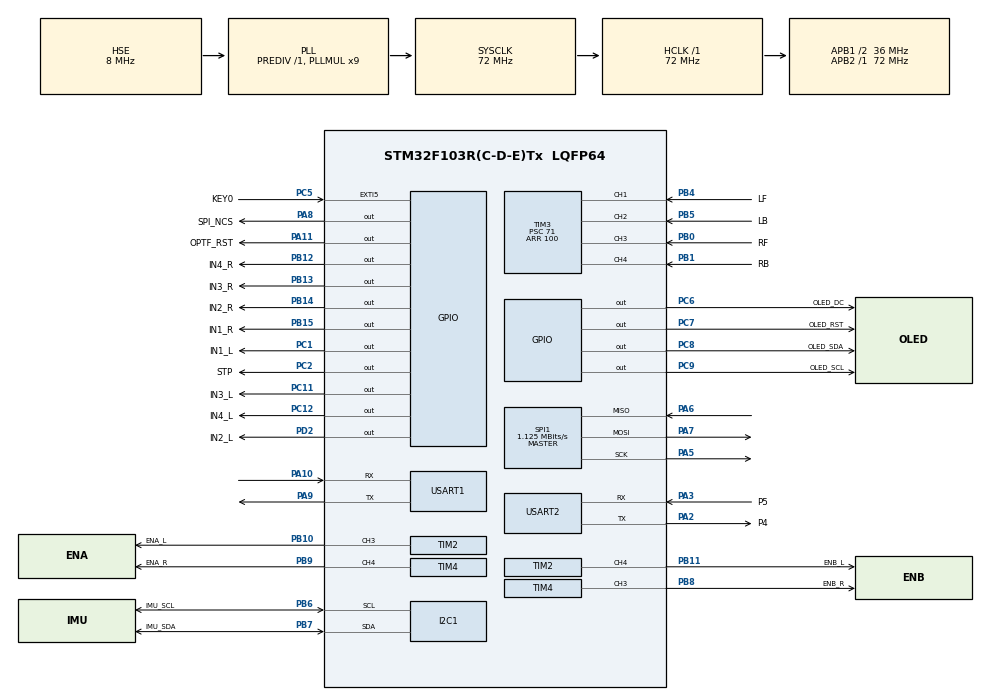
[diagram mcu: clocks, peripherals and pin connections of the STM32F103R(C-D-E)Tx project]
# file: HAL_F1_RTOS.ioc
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FREERTOS.Tasks01=defaultTask,24,128,StartDefaultTask,Default,NULL,Dynamic,NULL,NULL;LFSpeed,24,128,StartLFSpeed,Default,NULL,Dynamic,NULL,NULL;LBSpeed,24,128,StartLBSpeed,Default,NULL,Dynamic,NULL,NULL;RFSpeed,24,128,StartRFSpeed,Default,NULL,Dynamic,NULL,NULL;RBSpeed,24,128,StartRBSpeed,Default,NULL,Dynamic,NULL,NULL;MoveControl,32,512,StartMoveControl,Default,NULL,Dynamic,NULL,NULL;Decision,40,512,StartDecision,Default,NULL,Dynamic,NULL,NULL;IMUData,24,512,StartIMUData,Default,NULL,Dynamic,NULL,NULL
FREERTOS.configTOTAL_HEAP_SIZE=16384
I2C1.I2C_Mode=I2C_Standard
I2C1.NoStretchMode=I2C_NOSTRETCH_DISABLE
Mcu.Family=STM32F1
Mcu.Name=STM32F103R(C-D-E)Tx
Mcu.Package=LQFP64
NVIC.PriorityGroup=NVIC_PRIORITYGROUP_4
NVIC.TIM1_UP_IRQn=true\:0\:0\:false\:false\:true\:false\:false\:true
NVIC.TIM3_IRQn=true\:5\:0\:false\:false\:true\:true\:true\:true
NVIC.TIM4_IRQn=true\:5\:0\:false\:false\:true\:true\:true\:true
NVIC.TimeBase=TIM1_UP_IRQn
NVIC.TimeBaseIP=TIM1
NVIC.USART2_IRQn=true\:5\:0\:false\:false\:true\:true\:true\:true
PA10.Mode=Asynchronous
PA10.Signal=USART1_RX
PA11.GPIO_Label=OPTF_RST
PA11.GPIO_PuPd=GPIO_PULLDOWN
PA11.Signal=GPIO_Output
PA13.Mode=Serial_Wire
PA13.Signal=SYS_JTMS-SWDIO
PA14.Mode=Serial_Wire
PA14.Signal=SYS_JTCK-SWCLK
PA2.GPIO_Label=P4
PA2.Mode=Asynchronous
PA2.Signal=USART2_TX
PA3.GPIO_Label=P5
PA3.Mode=Asynchronous
PA3.Signal=USART2_RX
PA5.Mode=Full_Duplex_Master
PA5.Signal=SPI1_SCK
PA6.Mode=Full_Duplex_Master
PA6.Signal=SPI1_MISO
PA7.Mode=Full_Duplex_Master
PA7.Signal=SPI1_MOSI
PA8.GPIO_Label=SPI_NCS
PA8.GPIO_PuPd=GPIO_PULLUP
PA8.PinState=GPIO_PIN_SET
PA8.Signal=GPIO_Output
PA9.Mode=Asynchronous
PA9.Signal=USART1_TX
PB0.GPIO_Label=RF
PB0.GPIO_PuPd=GPIO_PULLUP
PB0.Signal=S_TIM3_CH3
PB1.GPIO_Label=RB
PB1.GPIO_PuPd=GPIO_PULLUP
PB1.Signal=S_TIM3_CH4
PB10.GPIO_Label=ENA_L
PB10.Signal=S_TIM2_CH3
PB11.GPIO_Label=ENB_L
PB11.Signal=S_TIM2_CH4
PB12.GPIO_Label=IN4_R
PB12.GPIO_PuPd=GPIO_PULLDOWN
PB12.Signal=GPIO_Output
PB13.GPIO_Label=IN3_R
PB13.GPIO_PuPd=GPIO_PULLDOWN
PB13.Signal=GPIO_Output
PB14.GPIO_Label=IN2_R
PB14.GPIO_PuPd=GPIO_PULLDOWN
PB14.Signal=GPIO_Output
PB15.GPIO_Label=IN1_R
PB15.GPIO_PuPd=GPIO_PULLDOWN
PB15.Signal=GPIO_Output
PB4.GPIO_Label=LF
PB4.GPIO_PuPd=GPIO_PULLUP
PB4.Signal=S_TIM3_CH1
PB5.GPIO_Label=LB
PB5.GPIO_PuPd=GPIO_PULLUP
PB5.Signal=S_TIM3_CH2
PB6.GPIO_Label=IMU_SCL
PB6.Mode=I2C
PB6.Signal=I2C1_SCL
PB7.GPIO_Label=IMU_SDA
PB7.Mode=I2C
PB7.Signal=I2C1_SDA
PB8.GPIO_Label=ENB_R
PB8.Signal=S_TIM4_CH3
PB9.GPIO_Label=ENA_R
PB9.Signal=S_TIM4_CH4
PC1.GPIO_Label=IN1_L
PC1.GPIO_PuPd=GPIO_PULLDOWN
PC1.Signal=GPIO_Output
PC11.GPIO_Label=IN3_L
PC11.GPIO_PuPd=GPIO_PULLDOWN
PC11.Signal=GPIO_Output
PC12.GPIO_Label=IN4_L
PC12.GPIO_PuPd=GPIO_PULLDOWN
PC12.Signal=GPIO_Output
PC2.GPIO_Label=STP
PC2.GPIO_PuPd=GPIO_PULLDOWN
PC2.GPIO_Speed=GPIO_SPEED_FREQ_HIGH
PC2.Signal=GPIO_Output
PC5.GPIO_Label=KEY0
PC5.GPIO_ModeDefaultEXTI=GPIO_MODE_IT_FALLING
PC5.GPIO_PuPd=GPIO_PULLUP
PC5.Signal=GPXTI5
PC6.GPIO_Label=OLED_DC
PC6.GPIO_PuPd=GPIO_PULLDOWN
PC6.GPIO_Speed=GPIO_SPEED_FREQ_HIGH
PC6.Signal=GPIO_Output
PC7.GPIO_Label=OLED_RST
PC7.GPIO_PuPd=GPIO_PULLDOWN
PC7.GPIO_Speed=GPIO_SPEED_FREQ_HIGH
PC7.Signal=GPIO_Output
PC8.GPIO_Label=OLED_SDA
PC8.GPIO_PuPd=GPIO_PULLDOWN
PC8.GPIO_Speed=GPIO_SPEED_FREQ_HIGH
PC8.Signal=GPIO_Output
PC9.GPIO_Label=OLED_SCL
PC9.GPIO_PuPd=GPIO_PULLDOWN
PC9.GPIO_Speed=GPIO_SPEED_FREQ_HIGH
PC9.Signal=GPIO_Output
PD0-OSC_IN.Mode=HSE-External-Oscillator
PD0-OSC_IN.Signal=RCC_OSC_IN
PD1-OSC_OUT.Mode=HSE-External-Oscillator
PD1-OSC_OUT.Signal=RCC_OSC_OUT
PD2.GPIO_Label=IN2_L
PD2.GPIO_PuPd=GPIO_PULLDOWN
PD2.Signal=GPIO_Output
ProjectManager.HeapSize=0x200
ProjectManager.StackSize=0x400
ProjectManager.TargetToolchain=MDK-ARM V5.27
RCC.AHBFreq_Value=72000000
RCC.APB1CLKDivider=RCC_HCLK_DIV2
RCC.APB1Freq_Value=36000000
RCC.APB1TimFreq_Value=72000000
RCC.APB2Freq_Value=72000000
RCC.APB2TimFreq_Value=72000000
RCC.HCLKFreq_Value=72000000
RCC.PLLMUL=RCC_PLL_MUL9
RCC.PLLSourceVirtual=RCC_PLLSOURCE_HSE
RCC.SYSCLKFreq_VALUE=72000000
RCC.SYSCLKSource=RCC_SYSCLKSOURCE_PLLCLK
RCC.USBFreq_Value=72000000
SH.S_TIM2_CH3.0=TIM2_CH3,PWM Generation3 CH3
SH.S_TIM2_CH4.0=TIM2_CH4,PWM Generation4 CH4
SH.S_TIM3_CH1.0=TIM3_CH1,Input_Capture1_from_TI1
SH.S_TIM3_CH2.0=TIM3_CH2,Input_Capture2_from_TI2
SH.S_TIM3_CH3.0=TIM3_CH3,Input_Capture3_from_TI3
SH.S_TIM3_CH4.0=TIM3_CH4,Input_Capture4_from_TI4
SH.S_TIM4_CH3.0=TIM4_CH3,PWM Generation3 CH3
SH.S_TIM4_CH4.0=TIM4_CH4,PWM Generation4 CH4
SPI1.BaudRatePrescaler=SPI_BAUDRATEPRESCALER_64
SPI1.CLKPhase=SPI_PHASE_2EDGE
SPI1.CLKPolarity=SPI_POLARITY_HIGH
SPI1.CalculateBaudRate=1.125 MBits/s
SPI1.Direction=SPI_DIRECTION_2LINES
SPI1.Mode=SPI_MODE_MASTER
SPI1.VirtualType=VM_MASTER
TIM2.AutoReloadPreload=TIM_AUTORELOAD_PRELOAD_ENABLE
TIM2.Channel-PWM\ Generation3\ CH3=TIM_CHANNEL_3
TIM2.Channel-PWM\ Generation4\ CH4=TIM_CHANNEL_4
TIM2.Period=100
TIM2.Prescaler=72-1
TIM3.AutoReloadPreload=TIM_AUTORELOAD_PRELOAD_ENABLE
TIM3.Channel-Input_Capture1_from_TI1=TIM_CHANNEL_1
TIM3.Channel-Input_Capture2_from_TI2=TIM_CHANNEL_2
TIM3.Channel-Input_Capture3_from_TI3=TIM_CHANNEL_3
TIM3.Channel-Input_Capture4_from_TI4=TIM_CHANNEL_4
TIM3.ClockDivision=TIM_CLOCKDIVISION_DIV1
TIM3.ICPolarity_CH1=TIM_INPUTCHANNELPOLARITY_FALLING
TIM3.ICPolarity_CH2=TIM_INPUTCHANNELPOLARITY_FALLING
TIM3.ICPolarity_CH3=TIM_INPUTCHANNELPOLARITY_FALLING
TIM3.ICPolarity_CH4=TIM_INPUTCHANNELPOLARITY_FALLING
TIM3.ICPrescaler-Input_Capture1_from_TI1=TIM_ICPSC_DIV1
TIM3.ICPrescaler-Input_Capture2_from_TI2=TIM_ICPSC_DIV1
TIM3.ICPrescaler-Input_Capture3_from_TI3=TIM_ICPSC_DIV1
TIM3.ICPrescaler-Input_Capture4_from_TI4=TIM_ICPSC_DIV1
TIM3.Period=100
TIM3.Prescaler=71
TIM4.AutoReloadPreload=TIM_AUTORELOAD_PRELOAD_ENABLE
TIM4.Channel-PWM\ Generation3\ CH3=TIM_CHANNEL_3
TIM4.Channel-PWM\ Generation4\ CH4=TIM_CHANNEL_4
TIM4.Period=100
TIM4.Prescaler=72-1
USART1.VirtualMode=VM_ASYNC
USART2.VirtualMode=VM_ASYNC
VP_FREERTOS_VS_CMSIS_V2.Mode=CMSIS_V2
VP_SYS_VS_tim1.Mode=TIM1
VP_TIM3_VS_ClockSourceINT.Mode=Internal
VP_TIM4_VS_ClockSourceINT.Mode=Internal
board=custom

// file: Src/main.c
/* USER CODE BEGIN Header */
/**
  ******************************************************************************
  * @file           : main.c
  * @brief          : Main program body
  ******************************************************************************
  * @attention
  *
  * <h2><center>&copy; Copyright (c) 2020 STMicroelectronics.
  * All rights reserved.</center></h2>
  *
  * This software component is licensed by ST under BSD 3-Clause license,
  * the "License"; You may not use this file except in compliance with the
  * License. You may obtain a copy of the License at:
  *                        opensource.org/licenses/BSD-3-Clause
  *
  ******************************************************************************
  */
/* USER CODE END Header */

#include "main.h"
#include "cmsis_os.h"

/* USER CODE BEGIN Includes */
#include "stm32f1xx_hal.h"
#include "stdlib.h"
#include "stdio.h"
#include "pid.h"
#include "delay.h"
#include "stepper.h"
#include "comm.h"
#include "opticalFlow.h"
#include "lcd.h"
#include "oled.h"
#include "bsp.h"
#include "it.h"
#include "motor.h"
#include "mpu.h"
#include "inv_mpu.h"
#include "inv_mpu_dmp_motion_driver.h"
/* USER CODE END Includes */

/* USER CODE BEGIN PD */
#define Pi 3.1415
/* USER CODE END PD */

I2C_HandleTypeDef hi2c1;

SPI_HandleTypeDef hspi1;

TIM_HandleTypeDef htim2;
TIM_HandleTypeDef htim3;
TIM_HandleTypeDef htim4;

UART_HandleTypeDef huart1;
UART_HandleTypeDef huart2;

osThreadId_t defaultTaskHandle;
osThreadId_t LFSpeedHandle;
osThreadId_t LBSpeedHandle;
osThreadId_t RFSpeedHandle;
osThreadId_t RBSpeedHandle;
osThreadId_t MoveControlHandle;
osThreadId_t DecisionHandle;
osThreadId_t IMUDataHandle;
/* USER CODE BEGIN PV */
extern Motor *motorLF;
extern Motor *motorLB;
extern Motor *motorRF;
extern Motor *motorRB;
extern MotionState *MyRob;

uint8_t IRQBuffer;
ProtocolData *RxData;
PID_Typedef *PID_Front;
Stepper *StepperFront;

/* USER CODE END PV */

void SystemClock_Config(void);
static void MX_GPIO_Init(void);
static void MX_USART2_UART_Init(void);
static void MX_TIM3_Init(void);
static void MX_USART1_UART_Init(void);
static void MX_SPI1_Init(void);
static void MX_TIM2_Init(void);
static void MX_TIM4_Init(void);
static void MX_I2C1_Init(void);
void StartDefaultTask(void *argument);
void StartLFSpeed(void *argument);
void StartLBSpeed(void *argument);
void StartRFSpeed(void *argument);
void StartRBSpeed(void *argument);
void StartMoveControl(void *argument);
void StartDecision(void *argument);
void StartIMUData(void *argument);

int main(void)
{

  /* MCU Configuration--------------------------------------------------------*/

  /* Reset of all peripherals, Initializes the Flash interface and the Systick. */
  HAL_Init();

  /* Configure the system clock */
  SystemClock_Config();

  /* Initialize all configured peripherals */
  MX_GPIO_Init();
  MX_USART2_UART_Init();
  MX_TIM3_Init();
  MX_USART1_UART_Init();
  MX_SPI1_Init();
  MX_TIM2_Init();
  MX_TIM4_Init();
  MX_I2C1_Init();
  /* USER CODE BEGIN 2 */

BSP_Init();
  /* USER CODE END 2 */

  osKernelInitialize();

  /* Create the thread(s) */
  /* definition and creation of defaultTask */
  const osThreadAttr_t defaultTask_attributes = {
    .name = "defaultTask",
    .priority = (osPriority_t) osPriorityNormal,
    .stack_size = 128
  };
  defaultTaskHandle = osThreadNew(StartDefaultTask, NULL, &defaultTask_attributes);

  /* definition and creation of LFSpeed */
  const osThreadAttr_t LFSpeed_attributes = {
    .name = "LFSpeed",
    .priority = (osPriority_t) osPriorityNormal,
    .stack_size = 128
  };
  LFSpeedHandle = osThreadNew(StartLFSpeed, NULL, &LFSpeed_attributes);

  /* definition and creation of LBSpeed */
  const osThreadAttr_t LBSpeed_attributes = {
    .name = "LBSpeed",
    .priority = (osPriority_t) osPriorityNormal,
    .stack_size = 128
  };
  LBSpeedHandle = osThreadNew(StartLBSpeed, NULL, &LBSpeed_attributes);

  /* definition and creation of RFSpeed */
  const osThreadAttr_t RFSpeed_attributes = {
    .name = "RFSpeed",
    .priority = (osPriority_t) osPriorityNormal,
    .stack_size = 128
  };
  RFSpeedHandle = osThreadNew(StartRFSpeed, NULL, &RFSpeed_attributes);

  /* definition and creation of RBSpeed */
  const osThreadAttr_t RBSpeed_attributes = {
    .name = "RBSpeed",
    .priority = (osPriority_t) osPriorityNormal,
    .stack_size = 128
  };
  RBSpeedHandle = osThreadNew(StartRBSpeed, NULL, &RBSpeed_attributes);

  /* definition and creation of MoveControl */
  const osThreadAttr_t MoveControl_attributes = {
    .name = "MoveControl",
    .priority = (osPriority_t) osPriorityAboveNormal,
    .stack_size = 512
  };
  MoveControlHandle = osThreadNew(StartMoveControl, NULL, &MoveControl_attributes);

  /* definition and creation of Decision */
  const osThreadAttr_t Decision_attributes = {
    .name = "Decision",
    .priority = (osPriority_t) osPriorityHigh,
    .stack_size = 512
  };
  DecisionHandle = osThreadNew(StartDecision, NULL, &Decision_attributes);

  /* definition and creation of IMUData */
  const osThreadAttr_t IMUData_attributes = {
    .name = "IMUData",
    .priority = (osPriority_t) osPriorityNormal,
    .stack_size = 512
  };
  IMUDataHandle = osThreadNew(StartIMUData, NULL, &IMUData_attributes);

  /* Start scheduler */
  osKernelStart();

  /* We should never get here as control is now taken by the scheduler */

  /* Infinite loop */
  /* USER CODE BEGIN WHILE */
  while (1)
  {
	;
    /* USER CODE END WHILE */

  }
}

void SystemClock_Config(void)
{
  RCC_OscInitTypeDef RCC_OscInitStruct = {0};
  RCC_ClkInitTypeDef RCC_ClkInitStruct = {0};

  /** Initializes the CPU, AHB and APB busses clocks
  */
  RCC_OscInitStruct.OscillatorType = RCC_OSCILLATORTYPE_HSE;
  RCC_OscInitStruct.HSEState = RCC_HSE_ON;
  RCC_OscInitStruct.HSEPredivValue = RCC_HSE_PREDIV_DIV1;
  RCC_OscInitStruct.HSIState = RCC_HSI_ON;
  RCC_OscInitStruct.PLL.PLLState = RCC_PLL_ON;
  RCC_OscInitStruct.PLL.PLLSource = RCC_PLLSOURCE_HSE;
  RCC_OscInitStruct.PLL.PLLMUL = RCC_PLL_MUL9;
  if (HAL_RCC_OscConfig(&RCC_OscInitStruct) != HAL_OK)
  {
    Error_Handler();
  }
  /** Initializes the CPU, AHB and APB busses clocks
  */
  RCC_ClkInitStruct.ClockType = RCC_CLOCKTYPE_HCLK|RCC_CLOCKTYPE_SYSCLK
                              |RCC_CLOCKTYPE_PCLK1|RCC_CLOCKTYPE_PCLK2;
  RCC_ClkInitStruct.SYSCLKSource = RCC_SYSCLKSOURCE_PLLCLK;
  RCC_ClkInitStruct.AHBCLKDivider = RCC_SYSCLK_DIV1;
  RCC_ClkInitStruct.APB1CLKDivider = RCC_HCLK_DIV2;
  RCC_ClkInitStruct.APB2CLKDivider = RCC_HCLK_DIV1;

  if (HAL_RCC_ClockConfig(&RCC_ClkInitStruct, FLASH_LATENCY_2) != HAL_OK)
  {
    Error_Handler();
  }
}

static void MX_I2C1_Init(void)
{

  hi2c1.Instance = I2C1;
  hi2c1.Init.ClockSpeed = 100000;
  hi2c1.Init.DutyCycle = I2C_DUTYCYCLE_2;
  hi2c1.Init.OwnAddress1 = 0;
  hi2c1.Init.AddressingMode = I2C_ADDRESSINGMODE_7BIT;
  hi2c1.Init.DualAddressMode = I2C_DUALADDRESS_DISABLE;
  hi2c1.Init.OwnAddress2 = 0;
  hi2c1.Init.GeneralCallMode = I2C_GENERALCALL_DISABLE;
  hi2c1.Init.NoStretchMode = I2C_NOSTRETCH_DISABLE;
  if (HAL_I2C_Init(&hi2c1) != HAL_OK)
  {
    Error_Handler();
  }

}

static void MX_SPI1_Init(void)
{

  /* SPI1 parameter configuration*/
  hspi1.Instance = SPI1;
  hspi1.Init.Mode = SPI_MODE_MASTER;
  hspi1.Init.Direction = SPI_DIRECTION_2LINES;
  hspi1.Init.DataSize = SPI_DATASIZE_8BIT;
  hspi1.Init.CLKPolarity = SPI_POLARITY_HIGH;
  hspi1.Init.CLKPhase = SPI_PHASE_2EDGE;
  hspi1.Init.NSS = SPI_NSS_SOFT;
  hspi1.Init.BaudRatePrescaler = SPI_BAUDRATEPRESCALER_64;
  hspi1.Init.FirstBit = SPI_FIRSTBIT_MSB;
  hspi1.Init.TIMode = SPI_TIMODE_DISABLE;
  hspi1.Init.CRCCalculation = SPI_CRCCALCULATION_DISABLE;
  hspi1.Init.CRCPolynomial = 10;
  if (HAL_SPI_Init(&hspi1) != HAL_OK)
  {
    Error_Handler();
  }

}

static void MX_TIM2_Init(void)
{

  TIM_ClockConfigTypeDef sClockSourceConfig = {0};
  TIM_MasterConfigTypeDef sMasterConfig = {0};
  TIM_OC_InitTypeDef sConfigOC = {0};

  htim2.Instance = TIM2;
  htim2.Init.Prescaler = 72-1;
  htim2.Init.CounterMode = TIM_COUNTERMODE_UP;
  htim2.Init.Period = 100;
  htim2.Init.ClockDivision = TIM_CLOCKDIVISION_DIV1;
  htim2.Init.AutoReloadPreload = TIM_AUTORELOAD_PRELOAD_ENABLE;
  if (HAL_TIM_Base_Init(&htim2) != HAL_OK)
  {
    Error_Handler();
  }
  sClockSourceConfig.ClockSource = TIM_CLOCKSOURCE_INTERNAL;
  if (HAL_TIM_ConfigClockSource(&htim2, &sClockSourceConfig) != HAL_OK)
  {
    Error_Handler();
  }
  if (HAL_TIM_PWM_Init(&htim2) != HAL_OK)
  {
    Error_Handler();
  }
  sMasterConfig.MasterOutputTrigger = TIM_TRGO_RESET;
  sMasterConfig.MasterSlaveMode = TIM_MASTERSLAVEMODE_DISABLE;
  if (HAL_TIMEx_MasterConfigSynchronization(&htim2, &sMasterConfig) != HAL_OK)
  {
    Error_Handler();
  }
  sConfigOC.OCMode = TIM_OCMODE_PWM1;
  sConfigOC.Pulse = 0;
  sConfigOC.OCPolarity = TIM_OCPOLARITY_HIGH;
  sConfigOC.OCFastMode = TIM_OCFAST_DISABLE;
  if (HAL_TIM_PWM_ConfigChannel(&htim2, &sConfigOC, TIM_CHANNEL_3) != HAL_OK)
  {
    Error_Handler();
  }
  if (HAL_TIM_PWM_ConfigChannel(&htim2, &sConfigOC, TIM_CHANNEL_4) != HAL_OK)
  {
    Error_Handler();
  }
  HAL_TIM_MspPostInit(&htim2);

}

static void MX_TIM3_Init(void)
{

  TIM_ClockConfigTypeDef sClockSourceConfig = {0};
  TIM_MasterConfigTypeDef sMasterConfig = {0};
  TIM_IC_InitTypeDef sConfigIC = {0};

  htim3.Instance = TIM3;
  htim3.Init.Prescaler = 71;
  htim3.Init.CounterMode = TIM_COUNTERMODE_UP;
  htim3.Init.Period = 100;
  htim3.Init.ClockDivision = TIM_CLOCKDIVISION_DIV1;
  htim3.Init.AutoReloadPreload = TIM_AUTORELOAD_PRELOAD_ENABLE;
  if (HAL_TIM_Base_Init(&htim3) != HAL_OK)
  {
    Error_Handler();
  }
  sClockSourceConfig.ClockSource = TIM_CLOCKSOURCE_INTERNAL;
  if (HAL_TIM_ConfigClockSource(&htim3, &sClockSourceConfig) != HAL_OK)
  {
    Error_Handler();
  }
  if (HAL_TIM_IC_Init(&htim3) != HAL_OK)
  {
    Error_Handler();
  }
  sMasterConfig.MasterOutputTrigger = TIM_TRGO_RESET;
  sMasterConfig.MasterSlaveMode = TIM_MASTERSLAVEMODE_DISABLE;
  if (HAL_TIMEx_MasterConfigSynchronization(&htim3, &sMasterConfig) != HAL_OK)
  {
    Error_Handler();
  }
  sConfigIC.ICPolarity = TIM_INPUTCHANNELPOLARITY_FALLING;
  sConfigIC.ICSelection = TIM_ICSELECTION_DIRECTTI;
  sConfigIC.ICPrescaler = TIM_ICPSC_DIV1;
  sConfigIC.ICFilter = 0;
  if (HAL_TIM_IC_ConfigChannel(&htim3, &sConfigIC, TIM_CHANNEL_1) != HAL_OK)
  {
    Error_Handler();
  }
  if (HAL_TIM_IC_ConfigChannel(&htim3, &sConfigIC, TIM_CHANNEL_2) != HAL_OK)
  {
    Error_Handler();
  }
  if (HAL_TIM_IC_ConfigChannel(&htim3, &sConfigIC, TIM_CHANNEL_3) != HAL_OK)
  {
    Error_Handler();
  }
  if (HAL_TIM_IC_ConfigChannel(&htim3, &sConfigIC, TIM_CHANNEL_4) != HAL_OK)
  {
    Error_Handler();
  }

}

static void MX_TIM4_Init(void)
{

  TIM_ClockConfigTypeDef sClockSourceConfig = {0};
  TIM_MasterConfigTypeDef sMasterConfig = {0};
  TIM_OC_InitTypeDef sConfigOC = {0};

  htim4.Instance = TIM4;
  htim4.Init.Prescaler = 72-1;
  htim4.Init.CounterMode = TIM_COUNTERMODE_UP;
  htim4.Init.Period = 100;
  htim4.Init.ClockDivision = TIM_CLOCKDIVISION_DIV1;
  htim4.Init.AutoReloadPreload = TIM_AUTORELOAD_PRELOAD_ENABLE;
  if (HAL_TIM_Base_Init(&htim4) != HAL_OK)
  {
    Error_Handler();
  }
  sClockSourceConfig.ClockSource = TIM_CLOCKSOURCE_INTERNAL;
  if (HAL_TIM_ConfigClockSource(&htim4, &sClockSourceConfig) != HAL_OK)
  {
    Error_Handler();
  }
  if (HAL_TIM_PWM_Init(&htim4) != HAL_OK)
  {
    Error_Handler();
  }
  sMasterConfig.MasterOutputTrigger = TIM_TRGO_RESET;
  sMasterConfig.MasterSlaveMode = TIM_MASTERSLAVEMODE_DISABLE;
  if (HAL_TIMEx_MasterConfigSynchronization(&htim4, &sMasterConfig) != HAL_OK)
  {
    Error_Handler();
  }
  sConfigOC.OCMode = TIM_OCMODE_PWM1;
  sConfigOC.Pulse = 0;
  sConfigOC.OCPolarity = TIM_OCPOLARITY_HIGH;
  sConfigOC.OCFastMode = TIM_OCFAST_DISABLE;
  if (HAL_TIM_PWM_ConfigChannel(&htim4, &sConfigOC, TIM_CHANNEL_3) != HAL_OK)
  {
    Error_Handler();
  }
  if (HAL_TIM_PWM_ConfigChannel(&htim4, &sConfigOC, TIM_CHANNEL_4) != HAL_OK)
  {
    Error_Handler();
  }
  HAL_TIM_MspPostInit(&htim4);

}

static void MX_USART1_UART_Init(void)
{

  huart1.Instance = USART1;
  huart1.Init.BaudRate = 115200;
  huart1.Init.WordLength = UART_WORDLENGTH_8B;
  huart1.Init.StopBits = UART_STOPBITS_1;
  huart1.Init.Parity = UART_PARITY_NONE;
  huart1.Init.Mode = UART_MODE_TX_RX;
  huart1.Init.HwFlowCtl = UART_HWCONTROL_NONE;
  huart1.Init.OverSampling = UART_OVERSAMPLING_16;
  if (HAL_UART_Init(&huart1) != HAL_OK)
  {
    Error_Handler();
  }

}

static void MX_USART2_UART_Init(void)
{

  huart2.Instance = USART2;
  huart2.Init.BaudRate = 115200;
  huart2.Init.WordLength = UART_WORDLENGTH_8B;
  huart2.Init.StopBits = UART_STOPBITS_1;
  huart2.Init.Parity = UART_PARITY_NONE;
  huart2.Init.Mode = UART_MODE_TX_RX;
  huart2.Init.HwFlowCtl = UART_HWCONTROL_NONE;
  huart2.Init.OverSampling = UART_OVERSAMPLING_16;
  if (HAL_UART_Init(&huart2) != HAL_OK)
  {
    Error_Handler();
  }

}

static void MX_GPIO_Init(void)
{
  GPIO_InitTypeDef GPIO_InitStruct = {0};

  /* GPIO Ports Clock Enable */
  __HAL_RCC_GPIOD_CLK_ENABLE();
  __HAL_RCC_GPIOC_CLK_ENABLE();
  __HAL_RCC_GPIOA_CLK_ENABLE();
  __HAL_RCC_GPIOB_CLK_ENABLE();

  /*Configure GPIO pin Output Level */
  HAL_GPIO_WritePin(GPIOC, IN1_L_Pin|STP_Pin|OLED_DC_Pin|OLED_RST_Pin
                          |OLED_SDA_Pin|OLED_SCL_Pin|IN3_L_Pin|IN4_L_Pin, GPIO_PIN_RESET);

  /*Configure GPIO pin Output Level */
  HAL_GPIO_WritePin(GPIOB, IN4_R_Pin|IN3_R_Pin|IN2_R_Pin|IN1_R_Pin, GPIO_PIN_RESET);

  /*Configure GPIO pin Output Level */
  HAL_GPIO_WritePin(SPI_NCS_GPIO_Port, SPI_NCS_Pin, GPIO_PIN_SET);

  /*Configure GPIO pin Output Level */
  HAL_GPIO_WritePin(OPTF_RST_GPIO_Port, OPTF_RST_Pin, GPIO_PIN_RESET);

  /*Configure GPIO pin Output Level */
  HAL_GPIO_WritePin(IN2_L_GPIO_Port, IN2_L_Pin, GPIO_PIN_RESET);

  /*Configure GPIO pins : IN1_L_Pin IN3_L_Pin IN4_L_Pin */
  GPIO_InitStruct.Pin = IN1_L_Pin|IN3_L_Pin|IN4_L_Pin;
  GPIO_InitStruct.Mode = GPIO_MODE_OUTPUT_PP;
  GPIO_InitStruct.Pull = GPIO_PULLDOWN;
  GPIO_InitStruct.Speed = GPIO_SPEED_FREQ_LOW;
  HAL_GPIO_Init(GPIOC, &GPIO_InitStruct);

  /*Configure GPIO pins : STP_Pin OLED_DC_Pin OLED_RST_Pin OLED_SDA_Pin
                           OLED_SCL_Pin */
  GPIO_InitStruct.Pin = STP_Pin|OLED_DC_Pin|OLED_RST_Pin|OLED_SDA_Pin
                          |OLED_SCL_Pin;
  GPIO_InitStruct.Mode = GPIO_MODE_OUTPUT_PP;
  GPIO_InitStruct.Pull = GPIO_PULLDOWN;
  GPIO_InitStruct.Speed = GPIO_SPEED_FREQ_HIGH;
  HAL_GPIO_Init(GPIOC, &GPIO_InitStruct);

  /*Configure GPIO pin : KEY0_Pin */
  GPIO_InitStruct.Pin = KEY0_Pin;
  GPIO_InitStruct.Mode = GPIO_MODE_IT_FALLING;
  GPIO_InitStruct.Pull = GPIO_PULLUP;
  HAL_GPIO_Init(KEY0_GPIO_Port, &GPIO_InitStruct);

  /*Configure GPIO pins : IN4_R_Pin IN3_R_Pin IN2_R_Pin IN1_R_Pin */
  GPIO_InitStruct.Pin = IN4_R_Pin|IN3_R_Pin|IN2_R_Pin|IN1_R_Pin;
  GPIO_InitStruct.Mode = GPIO_MODE_OUTPUT_PP;
  GPIO_InitStruct.Pull = GPIO_PULLDOWN;
  GPIO_InitStruct.Speed = GPIO_SPEED_FREQ_LOW;
  HAL_GPIO_Init(GPIOB, &GPIO_InitStruct);

  /*Configure GPIO pin : SPI_NCS_Pin */
  GPIO_InitStruct.Pin = SPI_NCS_Pin;
  GPIO_InitStruct.Mode = GPIO_MODE_OUTPUT_PP;
  GPIO_InitStruct.Pull = GPIO_PULLUP;
  GPIO_InitStruct.Speed = GPIO_SPEED_FREQ_LOW;
  HAL_GPIO_Init(SPI_NCS_GPIO_Port, &GPIO_InitStruct);

  /*Configure GPIO pin : OPTF_RST_Pin */
  GPIO_InitStruct.Pin = OPTF_RST_Pin;
  GPIO_InitStruct.Mode = GPIO_MODE_OUTPUT_PP;
  GPIO_InitStruct.Pull = GPIO_PULLDOWN;
  GPIO_InitStruct.Speed = GPIO_SPEED_FREQ_LOW;
  HAL_GPIO_Init(OPTF_RST_GPIO_Port, &GPIO_InitStruct);

  /*Configure GPIO pin : IN2_L_Pin */
  GPIO_InitStruct.Pin = IN2_L_Pin;
  GPIO_InitStruct.Mode = GPIO_MODE_OUTPUT_PP;
  GPIO_InitStruct.Pull = GPIO_PULLDOWN;
  GPIO_InitStruct.Speed = GPIO_SPEED_FREQ_LOW;
  HAL_GPIO_Init(IN2_L_GPIO_Port, &GPIO_InitStruct);

}

void StartDefaultTask(void *argument)
{
  for(;;)
  {
    osDelay(1);
  }
}

void StartLFSpeed(void *argument)
{
  /* USER CODE BEGIN StartLFSpeed */
	uint32_t countLF = 0;
	int rpmLF = 0;
	//char stringLF[10];
  /* Infinite loop */
  for(;;)
  {
	  taskENTER_CRITICAL();
	  countLF = ulTaskNotifyTake(pdTRUE,0);
	  rpmLF = 100*60*countLF/11/35;
	  motorLF->Speed = rpmLF;
	  taskEXIT_CRITICAL();
    osDelay(10);
  }
  /* USER CODE END StartLFSpeed */
}

void StartLBSpeed(void *argument)
{
  /* USER CODE BEGIN StartLBSpeed */
	uint32_t countLB = 0;
	uint32_t rpmLB = 0;
	//char stringLB[10];
  /* Infinite loop */
  for(;;)
  {
	  taskENTER_CRITICAL();
	  countLB = ulTaskNotifyTake(pdTRUE,0);
	  rpmLB = 100*60*countLB/11/35;
	  motorLB->Speed = rpmLB;
	  taskEXIT_CRITICAL();
    osDelay(10);
  }
  /* USER CODE END StartLBSpeed */
}

void StartRFSpeed(void *argument)
{
  /* USER CODE BEGIN StartRFSpeed */
	uint32_t countRF = 0;
	uint32_t rpmRF = 0;
	//char stringRF[10];
  /* Infinite loop */
  for(;;)
  {

	  taskENTER_CRITICAL();
	  countRF = ulTaskNotifyTake(pdTRUE,0);
	  rpmRF = 100*60*countRF/11/35;
	  motorRF->Speed = rpmRF;
	  taskEXIT_CRITICAL();
    osDelay(10);
  }
  /* USER CODE END StartRFSpeed */
}

void StartRBSpeed(void *argument)
{
  /* USER CODE BEGIN StartRBSpeed */
	uint32_t countRB = 0;
	uint32_t rpmRB = 0;
	//char stringRB[10];
  /* Infinite loop */
  for(;;)
  {

	  taskENTER_CRITICAL();
	  countRB = ulTaskNotifyTake(pdTRUE,0);
	  rpmRB = 100*60*countRB/11/35;
	  motorRB->Speed = rpmRB;
	  taskEXIT_CRITICAL();
    osDelay(10);
  }
  /* USER CODE END StartRBSpeed */
}

void StartMoveControl(void *argument)
{
  /* USER CODE BEGIN StartMoveControl */
	PID_Typedef *LF_PID = PID_Init(POSITION,0.6,0.08,0.04,1,100,45);
	PID_Typedef *LB_PID = PID_Init(POSITION,0.6,0.08,0.04,1,100,45);
	PID_Typedef *RF_PID = PID_Init(POSITION,0.6,0.08,0.04,1,100,45);
	PID_Typedef *RB_PID = PID_Init(POSITION,0.6,0.08,0.04,1,100,45);
	int pwmLF = 0, pwmLB = 0, pwmRF = 0, pwmRB = 0;
	int flag = 0,count = 0,trans = 0;
  /* Infinite loop */
  for(;;)
  {
	  taskENTER_CRITICAL();
		  {

			  count++;

			  /*
		  pwmLF = (int)PID_Calc(LF_PID, ABS(motorLF->TargetSpeed), motorLF->Speed);
		  pwmLB = (int)PID_Calc(LB_PID, ABS(motorLB->TargetSpeed), motorLB->Speed);
		  pwmRF = (int)PID_Calc(RF_PID, ABS(motorRF->TargetSpeed), motorRF->Speed);
		  pwmRB = (int)PID_Calc(RB_PID, ABS(motorRB->TargetSpeed), motorRB->Speed);
			  */

		  printf("%d,%d,%d,%d,%d\n",
			  count,
			  motorLF->Speed,
			  motorLB->Speed,
			  motorRF->Speed,
			  motorRB->Speed);

		  /*
		  MotorRunToTarget(motorLF, pwmLF);
		  MotorRunToTarget(motorLB, pwmLB);
		  MotorRunToTarget(motorRF, pwmRF);
		  MotorRunToTarget(motorRB, pwmRB);
		  */

		  }
	  taskEXIT_CRITICAL();
    osDelay(10);
  }
  /* USER CODE END StartMoveControl */
}

void StartDecision(void *argument)
{
  /* USER CODE BEGIN StartDecision */
	PID_Typedef *OMG_PID = PID_Init(POSITION,0.08,0,0.5,2,24,-24);
	float vx = 0,vy = 0,omega = 0;
	float L = 17, R = 8;
	int count = 0;
  /* Infinite loop */
  for(;;)
  {
	  //正式
		/*
	  count++;
	  vx = 0, vy = 0;
	  omega = PID_Calc(OMG_PID,0,MyRob->yaw);
	  printf("%d,%f\n",count,MyRob->yaw);

	  motorLF->TargetSpeed = (int)((-vx	-vy	-omega*L)/R * (30/Pi));
	  motorLB->TargetSpeed = (int)((-vx	+vy	-omega*L)/R * (30/Pi));
	  motorRF->TargetSpeed = (int)((+vx	-vy	-omega*L)/R * (30/Pi));
	  motorRB->TargetSpeed = (int)((+vx	+vy	-omega*L)/R * (30/Pi));
		*/

	  //测试
	  /*

	  */
	  osDelay(10);
  }
  /* USER CODE END StartDecision */
}

void StartIMUData(void *argument)
{
  /* USER CODE BEGIN StartIMUData */
	float pitch = 0,roll = 0,yaw = 0;
	short aacx = 0,aacy = 0,aacz = 0;
	short gyrox = 0,gyroy = 0,gyroz= 0;
	short temp = 0;
  /* Infinite loop */
  for(;;)
  {
	  /*
	  taskENTER_CRITICAL();
	if(mpu_dmp_get_data(&pitch,&roll,&yaw)==0)
		{
			temp = MPU_Get_Temperature();
			MPU_Get_Accelerometer(&aacx,&aacy,&aacz);
			MPU_Get_Gyroscope(&gyrox,&gyroy,&gyroz);
			MyRob->aacx = aacx;
			MyRob->aacy = -aacy;
			MyRob->aacz = -aacz;
			MyRob->gyrox = gyrox;
			MyRob->gyroy = -gyroy;
			MyRob->gyroz = -gyroz;
			MyRob->roll = roll;
			MyRob->pitch = -pitch;
			MyRob->yaw = -yaw;
			MyRob->temp = temp;
		}
		taskEXIT_CRITICAL();
	  */
    osDelay(5);
  }
  /* USER CODE END StartIMUData */
}

void HAL_TIM_PeriodElapsedCallback(TIM_HandleTypeDef *htim)
{
  if (htim->Instance == TIM1) {
    HAL_IncTick();
  }
}

void Error_Handler(void)
{
}

/************************ (C) COPYRIGHT STMicroelectronics *****END OF FILE****/
